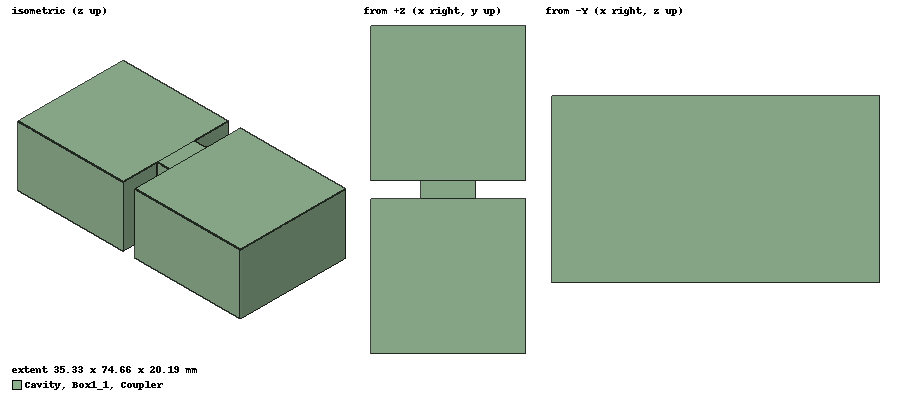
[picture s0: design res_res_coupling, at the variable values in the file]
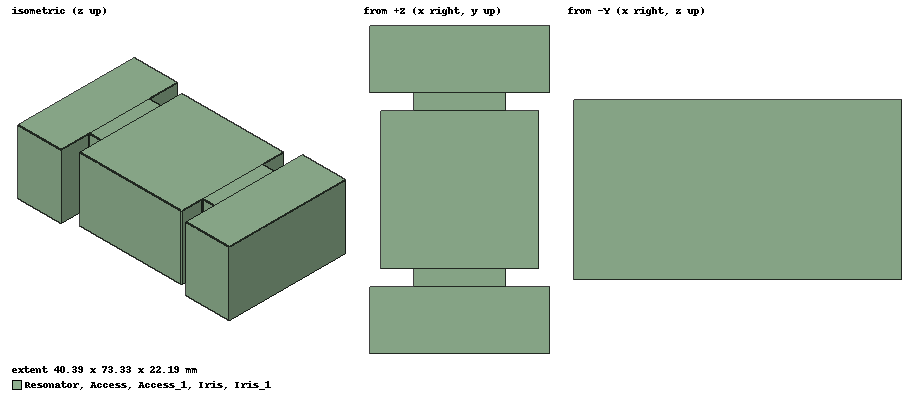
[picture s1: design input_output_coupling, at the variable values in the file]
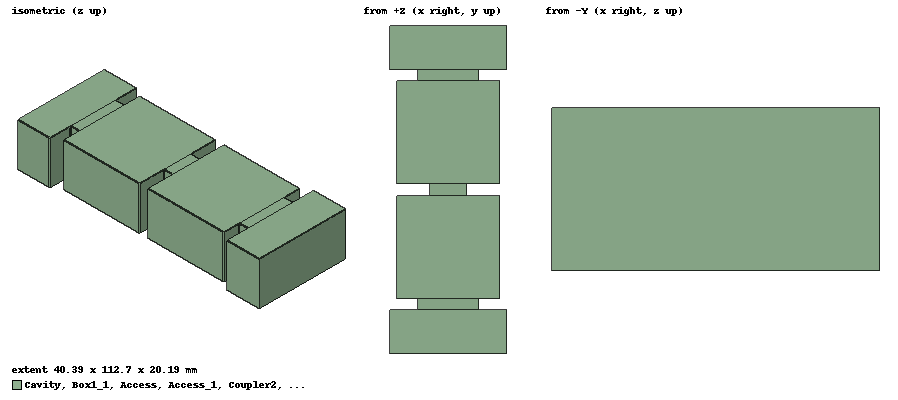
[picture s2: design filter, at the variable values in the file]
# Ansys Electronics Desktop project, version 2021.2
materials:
  vacuum: permittivity=1
  Lab_5_mat: conductivity=5.76e-05 dielectric_loss_tangent=1e-20

design Res (HFSS, Eigenmode, model units mm)
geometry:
  Box1 [Lab_5_mat] = box(corner=(0mm, 0mm, 0mm), size=(35.33mm, 35.33mm, 20.193mm))
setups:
  Eigenmode_Analysis: HfssEigen MinimumFrequency=2GHz NumModes=5 MaxDeltaFreq=1 ConvergeOnRealFreq=false MaximumPasses=5 MinimumPasses=1 MinimumConvergedPasses=1 PercentRefinement=30 BasisOrder=1
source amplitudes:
  #-10:1: 1 0deg
  #-10:2..#-10:5: 0 0deg
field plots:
  Obj_E_Field: E Field in Box1 on Eigenmode_Analysis : LastAdaptive at Phase=0deg

design res_res_coupling (HFSS, Eigenmode, model units mm)
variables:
  lcav1 = 35.33mm
  ith = 4mm
  hcav = 20.193mm
  w12 = 12.4mm
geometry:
  Cavity [Lab_5_mat] = box(corner=(-lcav1/2, -ith/2, -hcav/2), size=(lcav1, -lcav1, hcav))
  Box1_1 [Lab_5_mat] = Cavity.duplicate_mirror(point=(0mm, 0mm, 0mm), normal=(0mm, 1mm, 0mm))
  Coupler [Lab_5_mat] = box(corner=(-w12/2, -ith/2, -hcav/2), size=(w12, ith, hcav))
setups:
  Eigenmode_Analysis: HfssEigen MinimumFrequency=2GHz NumModes=5 MaxDeltaFreq=1 ConvergeOnRealFreq=false MaximumPasses=5 MinimumPasses=1 MinimumConvergedPasses=1 PercentRefinement=30 BasisOrder=1
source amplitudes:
  #-10:1: 1 0deg
  #-10:2..#-10:5: 0 0deg
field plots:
  Obj_E_Field: E Field in Cavity, Coupler, Box1_1 on Eigenmode_Analysis : LastAdaptive at Phase=0deg
  Planar_E_Field: E Field on Eigenmode_Analysis : LastAdaptive at Phase=0deg

design input_output_coupling (HFSS, DrivenModal, model units mm)
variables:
  w31 = 35.33mm
  w01 = 20.75mm
  iris_len = 4mm
  Acc_Wid = 40.39mm
  Acc_len = 15mm
  struct_h = 22.193mm
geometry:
  Resonator [Lab_5_mat] = box(corner=(-w31/2, -w31/2, -struct_h/2), size=(w31, w31, struct_h))
  Iris [Lab_5_mat] = box(corner=(-w01/2, w31/2, -struct_h/2), size=(w01, iris_len, struct_h))
  Access [Lab_5_mat] = box(corner=(-Acc_Wid/2, (w31/2)+iris_len, -struct_h/2), size=(Acc_Wid, Acc_len, struct_h))
  Iris_1 [Lab_5_mat] = Iris.duplicate_mirror(point=(0mm, 0mm, 0mm), normal=(0mm, -1mm, 0mm))
  Access_1 [Lab_5_mat] = Access.duplicate_mirror(point=(0mm, 0mm, 0mm), normal=(0mm, -1mm, 0mm))
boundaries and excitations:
  Port_1: Wave Port Faces=Access_1.face(5 of 6) NumModes=1 Modes{Mode1{CharImp=Zpi}}
  Port_2: Wave Port Faces=Access.face(+y) NumModes=1 Modes{Mode1{CharImp=Zpi}}
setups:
  Normal: HfssDrivenAuto AutoSolverSetting=Balanced SaveAnyFields=false Type=Interpolating
    sweep Sweep: 4.9GHz to 7GHz, 2100 points;
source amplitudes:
  Port_1:1: 1W 0deg
  Port_2:1: 0W 0deg

design filter (HFSS, DrivenModal, model units mm)
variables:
  lcav1 = 35.33mm
  ith = 4mm
  hcav = 20.193mm
  w12 = 12.4mm
  C2W = 20.75mm
  C2L = 4mm
  lacc = 15mm
  wacc = 40.39mm
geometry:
  Cavity [Lab_5_mat] = box(corner=(-lcav1/2, -ith/2, -hcav/2), size=(lcav1, -lcav1, hcav))
  Box1_1 [Lab_5_mat] = Cavity.duplicate_mirror(point=(0mm, 0mm, 0mm), normal=(0mm, 1mm, 0mm))
  Coupler [Lab_5_mat] = box(corner=(-w12/2, -ith/2, -hcav/2), size=(w12, ith, hcav))
  Coupler2 [Lab_5_mat] = box(corner=(-C2W/2, (ith/2)+lcav1, -hcav/2), size=(C2W, C2L, hcav))
  Access [Lab_5_mat] = box(corner=(-wacc/2, (ith/2)+C2L+lcav1, -hcav/2), size=(wacc, lacc, hcav))
  Coupler2_1 [Lab_5_mat] = Coupler2.duplicate_mirror(point=(0mm, 0mm, 0mm), normal=(0mm, 1mm, 0mm))
  Access_1 [Lab_5_mat] = Access.duplicate_mirror(point=(0mm, 0mm, 0mm), normal=(0mm, 1mm, 0mm))
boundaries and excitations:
  1: Wave Port Faces=Access_1.face(5 of 6) NumModes=1 Modes{Mode1{CharImp=Zpi}}
  2: Wave Port Faces=Access.face(+y) NumModes=1 Modes{Mode1{CharImp=Zpi}}
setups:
  Setup1: HfssDrivenAuto AutoSolverSetting=Balanced SaveAnyFields=false Type=Interpolating
    sweep Sweep: 4.9GHz to 7GHz, 2100 points;
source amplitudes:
  1:1: 1W 0deg
  2:1: 0W 0deg
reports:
  S Parameter Plot 1: dB(S(1,1)), dB(S(2,1)) vs Freq on Setup1 : Sweep
